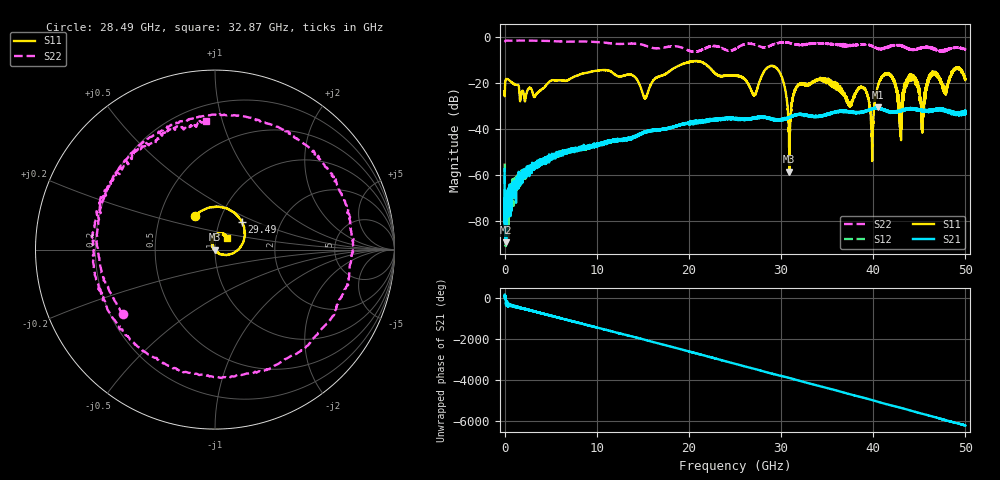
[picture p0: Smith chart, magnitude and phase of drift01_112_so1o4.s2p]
!Created with skrf (http://scikit-rf.org).
# Hz S RI R 50.0
!freq ReS11 ImS11 ReS21 ImS21 ReS12 ImS12 ReS22 ImS22
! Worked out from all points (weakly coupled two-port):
!   10001 points, 300 kHz to 50 GHz, reference 50 ohm
!   highest |S21| = -30.54 dB at 40.52 GHz (marker M1); lowest = -89.3 dB at 115.3 MHz (marker M2)
!   lowest |S11| = -58.5 dB at 30.9 GHz (marker M3), VSWR 1.00, Z = 49.9 - j0.0186 ohm
!   |S11| at or under -10 dB: start of sweep to end of sweep
!   |S22| runs from -6.4 to -1.4 dB; largest |S21 - S12| = 0.0042
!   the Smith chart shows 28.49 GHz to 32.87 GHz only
!   S11 on the Smith chart (normalised r, x): 28.49 GHz: 0.75, +0.29; 29.49 GHz: 1.27, +0.42; 32.87 GHz: 1.14, +0.15
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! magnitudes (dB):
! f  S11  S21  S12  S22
! 300 kHz  -23.5  -57.3  -54.9  -2.1
! 115.3 MHz  -18.5  -89.3  -90.9  -1.5
! 8.335 GHz  -15.9  -47.9  -48.1  -1.8
! 15.24 GHz  -26.5  -41.1  -41.6  -3.5
! 16.67 GHz  -17.1  -40.3  -40.3  -4.8
! 25 GHz  -16.6  -35.3  -35.3  -5.1
! 27.1 GHz  -25.2  -35.0  -35.3  -3.1
! 28.49 GHz  -13.3  -34.8  -34.9  -4.1
! 29.49 GHz  -13.3  -35.7  -35.9  -2.7
! 30.9 GHz  -58.5  -35.0  -34.6  -2.5
! 31.61 GHz  -22.0  -33.8  -33.7  -3.0
! 32.87 GHz  -20.6  -33.8  -34.1  -2.9
! 33.34 GHz  -19.7  -34.5  -34.2  -2.6
! 38.92 GHz  -22.0  -32.6  -32.6  -3.0
! 39.87 GHz  -47.8  -31.2  -31.3  -3.7
! 40.52 GHz  -21.2  -30.5  -30.8  -5.0
! 41.67 GHz  -16.0  -32.3  -32.4  -4.5
! 42.92 GHz  -39.1  -32.0  -32.2  -3.7
! 44.03 GHz  -17.3  -30.9  -31.3  -5.4
! 45.31 GHz  -38.8  -31.8  -32.1  -4.4
! 46.42 GHz  -15.2  -31.7  -31.7  -4.7
! 50 GHz  -18.2  -32.0  -32.9  -5.3
